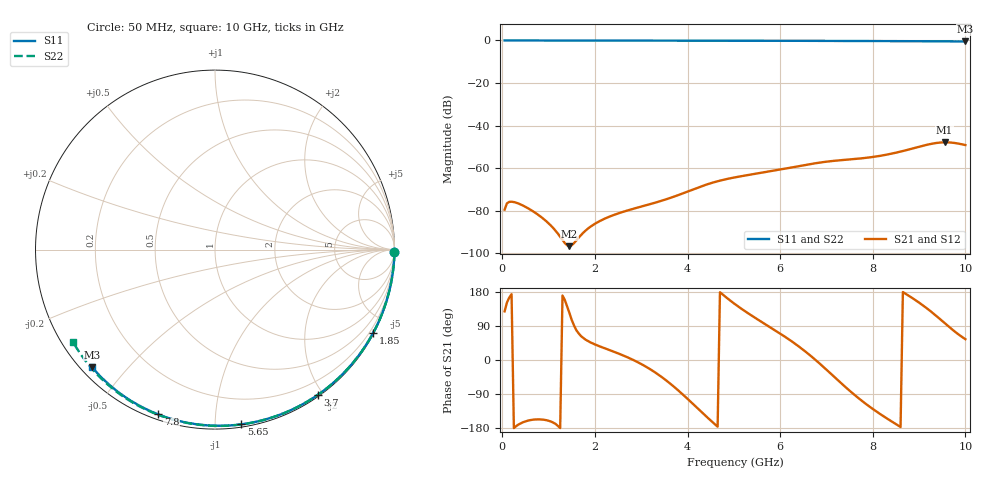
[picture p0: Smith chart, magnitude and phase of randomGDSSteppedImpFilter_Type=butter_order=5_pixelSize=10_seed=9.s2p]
! freq	dB(S11)	phase(S11)	dB(S12)	phase(S12)
!  dB(S21)	phase(S21)	dB(S22)	phase(S22)
!S-par simulation data
#  GHz  S  DB  R 50
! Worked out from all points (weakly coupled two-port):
!   200 points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, 50 MHz to 10 GHz, reference 50 ohm
!   highest |S21| = -47.83 dB at 9.55 GHz (marker M1); lowest = -96.6 dB at 1.45 GHz (marker M2)
!   lowest |S11| = -0.5 dB at 10 GHz (marker M3), VSWR 37.27, Z = 1.56 - j20 ohm
!   |S11| at or under -10 dB: nowhere
!   |S22| runs from -0.5 to 0.0 dB; largest |S21 - S12| = 0
!   S11 on the Smith chart (normalised r, x): 50 MHz: open; 1.85 GHz: 0.04, -4.02; 3.7 GHz: 0.02, -1.93; 5.65 GHz: 0.02, -1.16; 7.8 GHz: 0.02, -0.71; 10 GHz: 0.03, -0.40
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0.05  -0.00 -0.8  -79.44 128.4  -79.44 128.4  -0.00 -0.8
0.1  -0.00 -1.5  -76.49 151.4  -76.49 151.4  -0.00 -1.7
0.15  -0.00 -2.3  -75.81 164.7  -75.81 164.7  -0.00 -2.5
0.2  -0.00 -3.1  -75.72 173.7  -75.72 173.7  -0.00 -3.3
0.4  -0.01 -6.1  -77.05 -167.1  -77.05 -167.1  -0.01 -6.6
0.65  -0.01 -9.9  -80.04 -157.7  -80.04 -157.7  -0.01 -10.7
1.45  -0.03 -22.0  -96.60 124.0  -96.60 124.0  -0.03 -23.6
1.75  -0.03 -26.4  -90.25 58.1  -90.25 58.1  -0.04 -28.4
1.85  -0.04 -27.9  -88.34 50.0  -88.34 50.0  -0.04 -30.0
2.7  -0.05 -40.4  -79.86 7.3  -79.86 7.3  -0.06 -43.4
3.4  -0.07 -50.5  -75.54 -41.1  -75.54 -41.1  -0.07 -54.2
3.7  -0.07 -54.7  -73.39 -69.8  -73.39 -69.8  -0.08 -58.8
4.45  -0.09 -65.2  -67.38 -154.1  -67.38 -154.1  -0.10 -70.0
5.05  -0.11 -73.4  -64.18 145.1  -64.18 145.1  -0.12 -78.7
5.65  -0.14 -81.4  -61.94 96.7  -61.94 96.7  -0.15 -87.3
6.7  -0.19 -95.1  -57.88 6.8  -57.88 6.8  -0.20 -102.0
7.8  -0.26 -109.1  -55.26 -111.1  -55.26 -111.1  -0.28 -117.1
8.35  -0.30 -115.9  -53.41 -157.7  -53.41 -157.7  -0.32 -124.5
9.25  -0.38 -127.1  -48.61 128.5  -48.61 128.5  -0.41 -136.7
9.55  -0.42 -130.8  -47.83 97.5  -47.83 97.5  -0.45 -140.8
9.75  -0.44 -133.3  -48.09 77.0  -48.09 77.0  -0.47 -143.6
10  -0.47 -136.4  -49.13 54.9  -49.13 54.9  -0.50 -147.0
